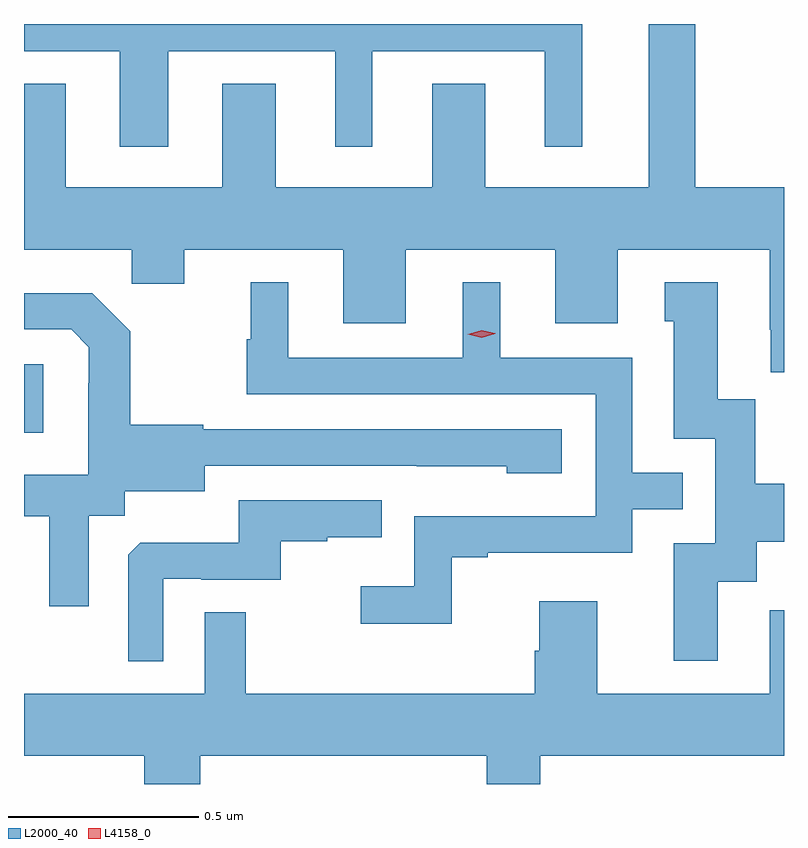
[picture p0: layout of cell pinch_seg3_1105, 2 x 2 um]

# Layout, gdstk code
import gdstk
lib = gdstk.Library(unit=1e-6, precision=1e-09)
def R(c, l, rs):  # rectangles x0, y0, x1, y1
    for r in rs: c.add(gdstk.rectangle(r[:2], r[2:], *l))
def P(c, l, *ps):  # polygons
    for p in ps: c.add(gdstk.Polygon(p, *l))
L2000_40 = (2000, 40)
L4158_0 = (4158, 0)

pinch_seg3_1105 = lib.new_cell('pinch_seg3_1105')
R(pinch_seg3_1105, L2000_40, [(364.835,671.13,364.885,671.31)])
P(pinch_seg3_1105, L2000_40, [(366.835,671.776),(366.601,671.776),(366.601,672.206),(366.479,672.206),(366.479,671.776),(366.049,671.776),(366.049,672.049),(365.909,672.049),(365.909,671.776),(365.497,671.776),(365.497,672.049),(365.357,672.049),(365.357,671.776),(364.945,671.776),(364.945,672.049),(364.835,672.049),(364.835,671.612),(365.119,671.612),(365.119,671.522),(365.257,671.522),(365.257,671.612),(365.675,671.612),(365.675,671.418),(365.839,671.418),(365.839,671.612),(366.233,671.612),(366.233,671.418),(366.397,671.418),(366.397,671.612),(366.797,671.612),(366.797,671.401),(366.8,671.401),(366.8,671.289),(366.835,671.289)],
  [(365.215,672.134),(365.654,672.134),(365.654,671.883),(365.752,671.883),(365.752,672.134),(366.206,672.134),(366.206,671.883),(366.304,671.883),(366.304,672.206),(364.835,672.206),(364.835,672.134),(365.087,672.134),(365.087,671.883),(365.215,671.883)],
  [(365.961,670.803),(366.055,670.803),(366.055,670.815),(366.435,670.815),(366.435,670.929),(366.569,670.929),(366.569,671.025),(366.435,671.025),(366.435,671.328),(366.088,671.328),(366.088,671.527),(365.99,671.527),(365.99,671.328),(365.53,671.328),(365.53,671.527),(365.432,671.527),(365.432,671.376),(365.421,671.376),(365.421,671.232),(366.339,671.232),(366.339,670.911),(365.862,670.911),(365.862,670.726),(365.721,670.726),(365.721,670.628),(365.961,670.628)],
  [(366.661,670.738),(366.763,670.738),(366.763,670.844),(366.835,670.844),(366.835,670.996),(366.759,670.996),(366.759,671.219),(366.661,671.219),(366.661,671.527),(366.521,671.527),(366.521,671.424),(366.545,671.424),(366.545,671.115),(366.654,671.115),(366.654,670.839),(366.545,670.839),(366.545,670.53),(366.661,670.53)],
  [(365.005,670.912),(365.1,670.912),(365.1,670.976),(365.311,670.976),(365.311,671.043),(365.869,671.043),(365.869,671.042),(366.105,671.042),(366.105,671.024),(366.25,671.024),(366.25,671.139),(365.307,671.139),(365.307,671.152),(365.115,671.152),(365.115,671.397),(365.015,671.497),(364.835,671.497),(364.835,671.403),(364.959,671.403),(365.006,671.356),(365.006,671.261),(365.004,671.261),(365.004,671.02),(364.835,671.02),(364.835,670.91),(364.901,670.91),(364.901,670.674),(365.005,670.674)],
  [(365.202,670.746),(365.302,670.746),(365.302,670.743),(365.51,670.743),(365.51,670.845),(365.633,670.845),(365.633,670.856),(365.777,670.856),(365.777,670.953),(365.4,670.953),(365.4,670.841),(365.141,670.841),(365.109,670.809),(365.109,670.529),(365.202,670.529)],
  [(365.299,670.28),(366.053,670.28),(366.053,670.206),(366.193,670.206),(366.193,670.28),(366.835,670.28),(366.835,670.663),(366.797,670.663),(366.797,670.444),(366.343,670.444),(366.343,670.687),(366.191,670.687),(366.191,670.557),(366.179,670.557),(366.179,670.444),(365.419,670.444),(365.419,670.658),(365.31,670.658),(365.31,670.444),(364.835,670.444),(364.835,670.28),(365.152,670.28),(365.152,670.206),(365.299,670.206)])
P(pinch_seg3_1105, L4158_0, [(366.039,671.381),(366.003,671.39),(366.003,671.39),(366.003,671.39),(366.039,671.4),(366.075,671.392),(366.075,671.391),(366.075,671.391)])

lib.write_gds('pinch_seg3_1105.gds')
